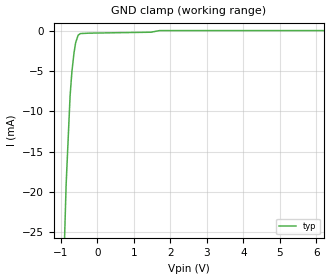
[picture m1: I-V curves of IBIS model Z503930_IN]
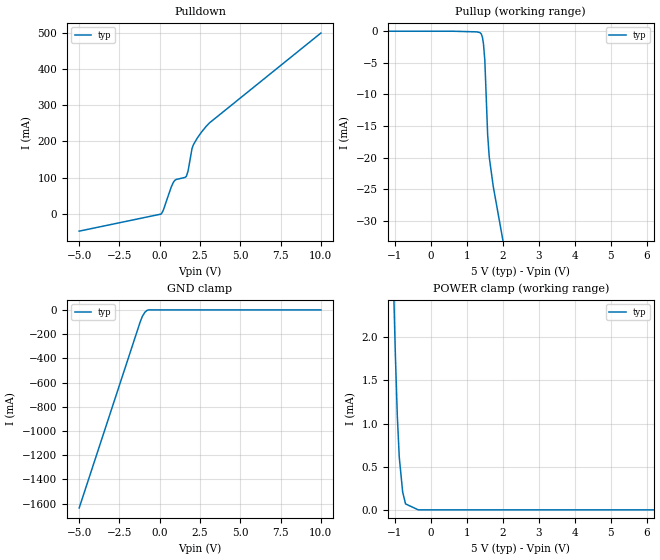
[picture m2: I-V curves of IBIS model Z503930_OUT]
| YOU ARE ONLY AUTHORIZED TO USE THIS SOFTWARE
| ACCORDING TO LICENSOR'S LICENSE RESTRICTIONS.
[IBIS Ver] 3.1
[File Name] mc54f32j.ibs
[File Rev] 2.0
[Source] Measured and created by ICX Technology
[Date] Friday 7/14/00 9:08:03 AM
[Copyright]
| (C) COPYRIGHT 1993-2000
| MENTOR GRAPHICS CORPORATION
| ICX STANDARD LIBRARY, ICX PROJECT MODELING,
| ICX CUSTOM MODELING, ICX VENDOR MODEL
| ALL RIGHTS RESERVED.
| THE FOLLOWING ARE TRADEMARKS OR SERVICE MARKS OF
| MENTOR GRAPHICS CORPORATION:ICX (R), ICX STANDARD
| LIBRARY(R), ICX PROJECT MODELING(R), ICX CUSTOM
| MODELING(R), qualityIBIS(TM), MODELVIEWER(TM),
| AND MODELEDITOR(TM)
| ALL COPIES OF SOFTWARE, INCLUDING BUT NOT LIMITED TO
| ANY MODIFICATIONS, ENHANCEMENTS OR DERIVATIVE WORKS,
| MUST CONTAIN ALL MENTOR GRAPHICS CORPORATION'S
| NOTICES AND LEGENDS, INCLUDING THOSE EMBEDDED IN
| SOFTWARE AND THOSE AFFIXED TO SOFTWARE MEDIUM
| AND CONTAINER, AS RECEIVED FROM MENTOR GRAPHICS
| CORPORATION.
|  ZAP Model Builder 2.7
[Component] MC54F32J
[Manufacturer] OnSemiconductor
[Package]
| variable   typ   min   max
R_pkg  .21ohms NA NA
L_pkg  4.543nH NA NA
C_pkg  1.8pF NA NA
[Pin] signal_name  model_name  R_pin  L_pin C_pin
1 A Z503930_IN .22 6.757n 2.434p
2 B Z503930_IN .212 4.757n 1.941p
3 Y Z503930_OUT .204 3.257n 1.448p
4 A Z503930_IN .196 2.257n .955p
5 B Z503930_IN .204 3.257n 1.448p
6 Y Z503930_OUT .212 4.757n 1.941p
7 GND GND .22 6.757n 2.434p
8 Y Z503930_OUT .22 6.757n 2.434p
9 A Z503930_IN .212 4.757n 1.941p
10 B Z503930_IN .204 3.257n 1.448p
11 Y Z503930_OUT .196 2.257n .955p
12 A Z503930_IN .204 3.257n 1.448p
13 B Z503930_IN .212 4.757n 1.941p
14 VCC POWER .22 6.757n 2.434p
| Models and submodels in the file (2): Z503930_IN (Input), Z503930_OUT (Output)
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| (C) COPYRIGHT 1993-2000
| MENTOR GRAPHICS CORPORATION
| ICX STANDARD LIBRARY, ICX PROJECT MODELING,
| ICX CUSTOM MODELING, ICX VENDOR MODEL
| ALL RIGHTS RESERVED.
| THE FOLLOWING ARE TRADEMARKS OR SERVICE MARKS OF
| MENTOR GRAPHICS CORPORATION:ICX (R), ICX STANDARD
| LIBRARY(R), ICX PROJECT MODELING(R), ICX CUSTOM
| MODELING(R), qualityIBIS(TM), MODELVIEWER(TM),
| AND MODELEDITOR(TM)
| ALL COPIES OF SOFTWARE, INCLUDING BUT NOT LIMITED TO
| ANY MODIFICATIONS, ENHANCEMENTS OR DERIVATIVE WORKS,
| MUST CONTAIN ALL MENTOR GRAPHICS CORPORATION'S
| NOTICES AND LEGENDS, INCLUDING THOSE EMBEDDED IN
| SOFTWARE AND THOSE AFFIXED TO SOFTWARE MEDIUM
| AND CONTAINER, AS RECEIVED FROM MENTOR GRAPHICS
| CORPORATION.
| Model Application Version 1.89 2/18/99.
[Model] Z503930_IN
Model_type Input
Vinl = 800.0mV
Vinh = 2.000V
C_comp 4.000pF NA NA
| variable typ   min   max
[Voltage Range] 5.000V NA NA
[GND Clamp Reference] 0.000V NA NA
[POWER Clamp Reference] 5.000V NA NA
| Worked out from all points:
|   GND clamp passes 1 mA (typ) near -0.56 V on its own axis
[GND Clamp]
-5V       -663.9mA   NA         NA
-854.5mV  -19.04mA   NA         NA
-746.2mV  -8.069mA   NA         NA
-698mV    -5.158mA   NA         NA
-638.9mV  -2.76mA    NA         NA
-594.5mV  -1.512mA   NA         NA
-525.9mV  -577.1uA   NA         NA
-463.7mV  -377.3uA   NA         NA
-231.8mV  -324.8uA   NA         NA
1.467V    -207.3uA   NA         NA
1.704V    -6.228uA   NA         NA
10V       -6.228uA   NA         NA
[POWER Clamp]
-5V       0A         NA         NA
10V       0A         NA         NA
| (C) COPYRIGHT 1993-2000
| MENTOR GRAPHICS CORPORATION
| ICX STANDARD LIBRARY, ICX PROJECT MODELING,
| ICX CUSTOM MODELING, ICX VENDOR MODEL
| ALL RIGHTS RESERVED.
| THE FOLLOWING ARE TRADEMARKS OR SERVICE MARKS OF
| MENTOR GRAPHICS CORPORATION:ICX (R), ICX STANDARD
| LIBRARY(R), ICX PROJECT MODELING(R), ICX CUSTOM
| MODELING(R), qualityIBIS(TM), MODELVIEWER(TM),
| AND MODELEDITOR(TM)
| ALL COPIES OF SOFTWARE, INCLUDING BUT NOT LIMITED TO
| ANY MODIFICATIONS, ENHANCEMENTS OR DERIVATIVE WORKS,
| MUST CONTAIN ALL MENTOR GRAPHICS CORPORATION'S
| NOTICES AND LEGENDS, INCLUDING THOSE EMBEDDED IN
| SOFTWARE AND THOSE AFFIXED TO SOFTWARE MEDIUM
| AND CONTAINER, AS RECEIVED FROM MENTOR GRAPHICS
| CORPORATION.
| Model Application Version 1.89 2/18/99.
[Model] Z503930_OUT
Model_type Output
Vref=0.000V
Rref=500.0ohms
Cref=50.00pF
Vmeas=1.500V
C_comp 8.000pF NA NA
| variable typ   min   max
[Voltage Range] 5.000V NA NA
[POWER Clamp Reference] 5.000V NA NA
[Pullup Reference] 5.000V NA NA
[Pulldown Reference] 0.000V NA NA
[GND Clamp Reference] 0.000V NA NA
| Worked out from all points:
|   slope of the pulldown table from 0 to 0.75 V, typ, clamps not added: 9.49 ohm
|   slope of the pullup table from 0 to 0.75 V, typ, clamps not added: 29.3 kohm
|   GND clamp passes 1 mA (typ) near -0.73 V on its own axis
|   POWER clamp passes 1 mA (typ) near -0.93 V on its own axis
[GND Clamp]
-5V       -1.636A    NA         NA
-1.206V   -96.34mA   NA         NA
-1.079V   -53.56mA   NA         NA
-917.9mV  -18.9mA    NA         NA
-793.3mV  -4.368mA   NA         NA
-705.2mV  0A         NA         NA
10V       0A         NA         NA
[Pulldown]
-5V       -47.75mA   NA         NA
107.4mV   531.6uA    NA         NA
219.6mV   9.854mA    NA         NA
708mV     73.5mA     NA         NA
889.9mV   90.07mA    NA         NA
1.65V     103.3mA    NA         NA
1.758V    118.2mA    NA         NA
2.004V    180.6mA    NA         NA
2.095V    191.4mA    NA         NA
2.314V    208.2mA    NA         NA
2.898V    242.5mA    NA         NA
10V       499.4mA    NA         NA
[Pullup]
-5V       8.153uA    NA         NA
586mV     8.153uA    NA         NA
1.279V    -99.97uA   NA         NA
1.362V    -207.8uA   NA         NA
1.401V    -430.4uA   NA         NA
1.434V    -984.1uA   NA         NA
1.462V    -2.029mA   NA         NA
1.499V    -4.628mA   NA         NA
1.577V    -16.32mA   NA         NA
1.621V    -19.9mA    NA         NA
1.733V    -24.58mA   NA         NA
10V       -287.1mA   NA         NA
[POWER Clamp]
-5V       86.5mA     NA         NA
-1.094V   3.431mA    NA         NA
-991mV    1.798mA    NA         NA
-937mV    1.091mA    NA         NA
-883mV    613.8uA    NA         NA
-788mV    206.8uA    NA         NA
-708mV    69.19uA    NA         NA
-354mV    0A         NA         NA
10V       0A         NA         NA
[Ramp]
| variable typ min max
dV/dt_r 2.040/2.695n NA NA
dV/dt_f 2.040/995.5p NA NA
R_load = 500.0Ohms
